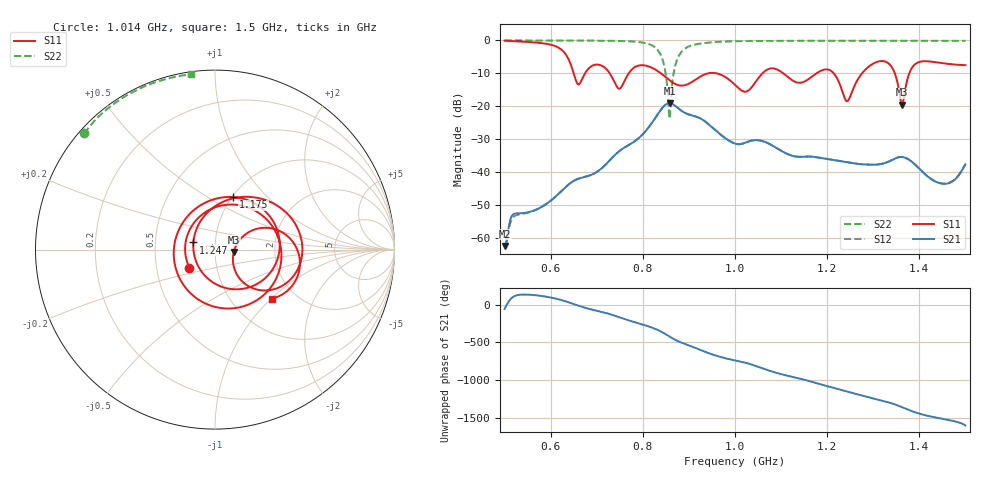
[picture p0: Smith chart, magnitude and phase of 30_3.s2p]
! TOUCHSTONE file generated by CST MICROWAVE STUDIO
! Date and time: Fri Dec 11 14:15:59 2020
! Project name: Scenario_1_Planar_Body_Tissue_Out_of_Line_v2.cst
! Parameters = {dy1=155.7; L_HA=400; Ltissue=700; MT=2.54; Rad_Dielectric=30; Rad_Lower=7.3; Rad_Upper=30; Wtissue=700; a_HA=580; a_WG=246; b_HA=500; b_WG=121; c_HA=0; c_WG=187; d_feed=85; dx1=520; h_feed=15; h_lower=18; h_upper=40; hfat=3; hgap=25; hmuscle=50; hskin=1.5}
! Header version: 2018
! Port assignment regex: !\s*Touchstone port\s*([0-9]+)\s*=\s*(CST MWS port|CST DS port)\s*([0-9]+|Zmin|Zmax)\s*\(\"(.*)\"\)(\s*mode\s*([0-9]+))?.*
! Touchstone port assignment:
! Touchstone port 1 = CST MWS port 1 ("")
! Touchstone port 2 = CST MWS port 2 ("")
# GHz S DB R 50
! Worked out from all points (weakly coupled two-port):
!   1003 points, 500 MHz to 1.5 GHz, reference 50 ohm
!   highest |S21| = -19.04 dB at 858 MHz (marker M1); lowest = -62.4 dB at 500 MHz (marker M2)
!   lowest |S11| = -19.5 dB at 1.363 GHz (marker M3), VSWR 1.24, Z = 61.7 - j1.58 ohm
!   |S11| at or under -10 dB: 839.3 MHz to 941.5 MHz (102.2 MHz wide, 11.5 % of centre); 960.3 MHz to 1.06 GHz (99.24 MHz wide, 9.83 % of centre); 1.105 GHz to 1.177 GHz (72.11 MHz wide, 6.32 % of centre)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
!   |S22| runs from -23.7 to 0.0 dB; largest |S21 - S12| = 0.00024
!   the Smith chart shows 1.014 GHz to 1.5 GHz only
!   S11 on the Smith chart (normalised r, x): 1.014 GHz: 0.74, -0.15; 1.175 GHz: 1.01, +0.66; 1.247 GHz: 0.78, +0.06; 1.5 GHz: 1.52, -1.02
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0.5  -0.08 -122.0  -62.39 -57.7  -62.39 -57.7  -0.01 151.2
0.597  -1.19 -174.3  -49.00 95.9  -49.01 95.9  -0.02 144.4
0.634  -4.52 143.8  -44.33 39.2  -44.32 39.2  -0.03 141.4
0.667  -12.11 172.5  -41.70 -28.8  -41.70 -28.8  -0.04 138.4
0.743  -13.90 10.5  -34.31 -155.4  -34.31 -155.4  -0.14 128.8
0.788  -7.75 164.3  -30.03 116.6  -30.03 116.6  -0.45 117.7
0.834  -9.46 50.9  -22.09 19.5  -22.09 19.5  -3.24 84.0
0.858  -12.09 -13.9  -19.04 -63.4  -19.04 -63.4  -23.74 -49.1
0.895  -13.44 -138.1  -22.23 -168.2  -22.23 -168.2  -2.15 171.6
0.936  -10.23 81.3  -24.71 93.7  -24.71 93.7  -0.75 152.6
1  -13.49 -96.9  -31.32 -17.4  -31.32 -17.4  -0.25 140.3
1.014  -15.18 -145.0  -31.43 -34.3  -31.43 -34.3  -0.22 138.4
1.074  -8.62 -3.7  -31.38 -151.5  -31.38 -151.5  -0.14 132.1
1.103  -9.82 -87.3  -33.73 156.9  -33.73 156.9  -0.12 129.5
1.167  -11.00 90.2  -35.29 59.7  -35.29 59.7  -0.10 124.2
1.175  -10.18 70.7  -35.43 45.7  -35.43 45.7  -0.10 123.6
1.247  -17.93 161.5  -37.10 -74.6  -37.10 -74.6  -0.09 118.1
1.286  -8.46 49.4  -37.70 -136.2  -37.70 -136.2  -0.08 115.2
1.334  -7.07 -24.1  -36.76 148.0  -36.76 148.0  -0.09 111.5
1.363  -19.53 -6.9  -35.41 84.2  -35.41 84.2  -0.09 109.3
1.395  -6.82 0.7  -38.26 10.0  -38.26 10.0  -0.10 106.8
1.5  -7.51 -40.8  -37.64 -155.2  -37.64 -155.2  -0.13 97.9
